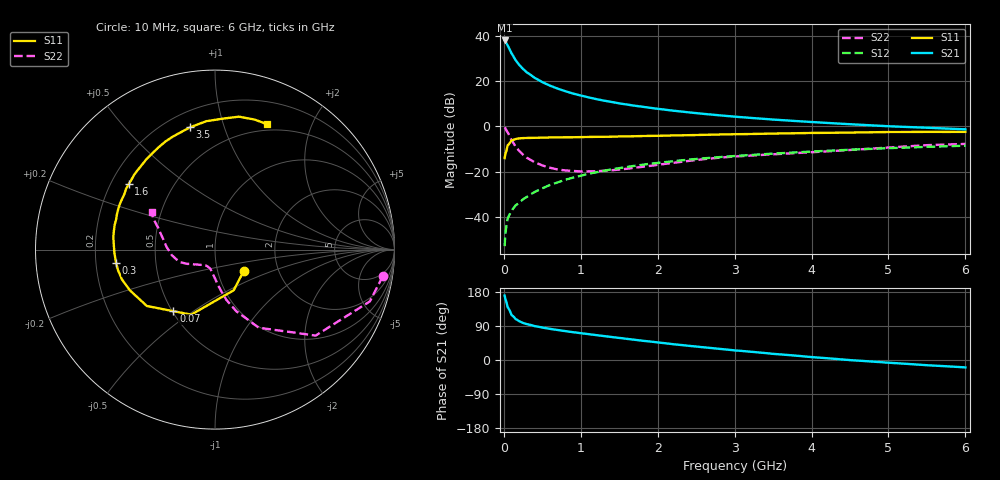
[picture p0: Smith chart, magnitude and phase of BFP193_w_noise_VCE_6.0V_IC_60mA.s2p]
! Infineon Technologies  Discrete & RF Semiconductors
! BFP193
! VCE =  6.0 V,  IC =  60 mA
! Common Emitter S-Parameters:  Jan 2017
# GHz  S  MA  R  50
!  f  S11  S21  S12  S22
! GHz  MAG  ANG  MAG  ANG  MAG  ANG  MAG  ANG
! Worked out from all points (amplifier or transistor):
!   77 points, 10 MHz to 6 GHz, reference 50 ohm
!   highest |S21| = 37.9 dB at 10 MHz (marker M1)
!   |S21| within 3 dB of that: start of sweep to 62.16 MHz
!   unconditionally stable (mu >= 1): 503.4 MHz to 2.381 GHz
!   at 130 MHz: K = 0.65, MSG = 33.2 dB, |S12| = -35.8 dB
!   at 2.2 GHz: K = 1.01, MAG = 10.6 dB, |S12| = -15.3 dB
!   at 6 GHz: K = 0.92, MSG = 3.6 dB, |S12| = -8.5 dB
!   lowest NFmin = 1.67 dB at 450 MHz
!   S11 on the Smith chart (normalised r, x): 10 MHz: 1.33, -0.33; 70 MHz: 0.51, -0.42; 300 MHz: 0.29, -0.06; 1.6 GHz: 0.27, +0.31; 3.5 GHz: 0.29, +0.77; 6 GHz: 0.43, +1.41
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0.01  0.1997 -36.7  78.12 170.0  0.0023 85.7  0.9468 -9.0
0.02  0.2495 -65.3  76.05 161.1  0.0042 84.7  0.9097 -18.5
0.05  0.3859 -110.1  60.69 139.1  0.0093 63.9  0.7377 -40.5
0.07  0.4139 -124.0  51.99 132.9  0.0111 62.5  0.6337 -46.7
0.1  0.4929 -140.4  40.68 118.9  0.0137 61.0  0.4991 -60.7
0.15  0.5262 -154.6  29.27 108.7  0.018 61.7  0.364 -70.9
0.2  0.5445 -162.3  22.66 102.4  0.0209 64.2  0.2875 -77.2
0.25  0.5525 -168.1  18.4 97.8  0.0249 63.9  0.238 -81.1
0.3  0.556 -172.2  15.44 94.6  0.0281 66.7  0.2029 -84.7
0.4  0.5609 -178.2  11.74 89.5  0.0359 68.5  0.1618 -89.8
0.5  0.5649 176.9  9.429 85.6  0.0432 69.1  0.1382 -94.5
0.6  0.5707 173.0  7.903 82.2  0.0513 69.2  0.1227 -99.1
0.7  0.573 169.5  6.783 79.2  0.0584 69.0  0.1123 -102.6
0.8  0.5758 166.0  5.952 76.2  0.0669 69.9  0.1071 -106.1
1.1  0.5849 156.9  4.359 68.3  0.0903 66.8  0.1022 -117.2
1.6  0.6029 142.8  3.029 55.8  0.128 61.6  0.1168 -133.3
2.1  0.6255 129.8  2.329 44.2  0.1639 55.2  0.1497 -147.2
3.1  0.6753 108.7  1.591 23.8  0.2281 42.4  0.222 -165.9
3.5  0.6953 101.6  1.414 16.2  0.2517 38.0  0.2431 -172.8
4.1  0.719 92.3  1.221 6.2  0.2844 30.6  0.2756 174.7
5.1  0.7526 78.5  0.992 -8.4  0.3356 19.1  0.3509 157.4
6  0.7573 67.4  0.861 -19.5  0.3758 8.9  0.4113 149.2
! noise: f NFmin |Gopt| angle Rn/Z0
0.45  1.67  0.48  -170  0.1
0.9  1.73  0.49  -163  0.1
1.9  2.41  0.62  -131  0.27
2.4  2.75  0.65  -118  0.56
